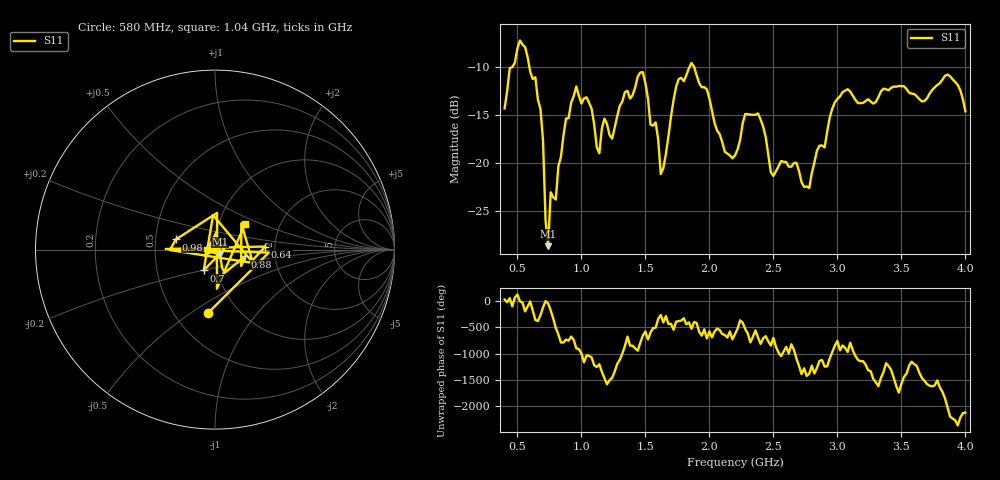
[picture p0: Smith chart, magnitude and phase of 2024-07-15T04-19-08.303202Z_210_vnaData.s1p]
!Created with skrf (http://scikit-rf.org).
# Hz S RI R 50.0
!freq ReS11 ImS11
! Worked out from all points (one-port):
!   181 points, 400 MHz to 4 GHz, reference 50 ohm
!   lowest |S11| = -28.6 dB at 740 MHz (marker M1), VSWR 1.08, Z = 52.9 - j2.52 ohm
!   |S11| at or under -10 dB: start of sweep to 455.8 MHz; 593.9 MHz to 1.843 GHz (1.249 GHz wide, 103 % of centre); 1.882 GHz to end of sweep
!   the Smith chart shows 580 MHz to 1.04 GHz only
!   S11 on the Smith chart (normalised r, x): 580 MHz: 0.72, -0.59; 640 MHz: 1.78, +0.07; 700 MHz: 0.86, -0.20; 880 MHz: 1.40, -0.11; 980 MHz: 0.64, +0.08; 1.04 GHz: 1.33, +0.40
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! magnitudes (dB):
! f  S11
! 400 MHz  -14.3
! 520 MHz  -7.2
! 580 MHz  -9.0
! 640 MHz  -11.0
! 700 MHz  -17.6
! 720 MHz  -26.0
! 740 MHz  -28.6
! 760 MHz  -23.0
! 800 MHz  -23.8
! 860 MHz  -17.1
! 880 MHz  -15.3
! 980 MHz  -13.0
! 1.04 GHz  -13.1
! 1.14 GHz  -18.9
! 1.3 GHz  -14.0
! 1.48 GHz  -10.5
! 1.62 GHz  -21.1
! 1.76 GHz  -11.2
! 1.86 GHz  -9.5
! 2.2 GHz  -19.2
! 2.38 GHz  -14.8
! 2.5 GHz  -21.3
! 2.66 GHz  -20.0
! 2.78 GHz  -22.6
! 3.1 GHz  -12.5
! 3.56 GHz  -12.6
! 3.86 GHz  -10.8
! 4 GHz  -14.6
